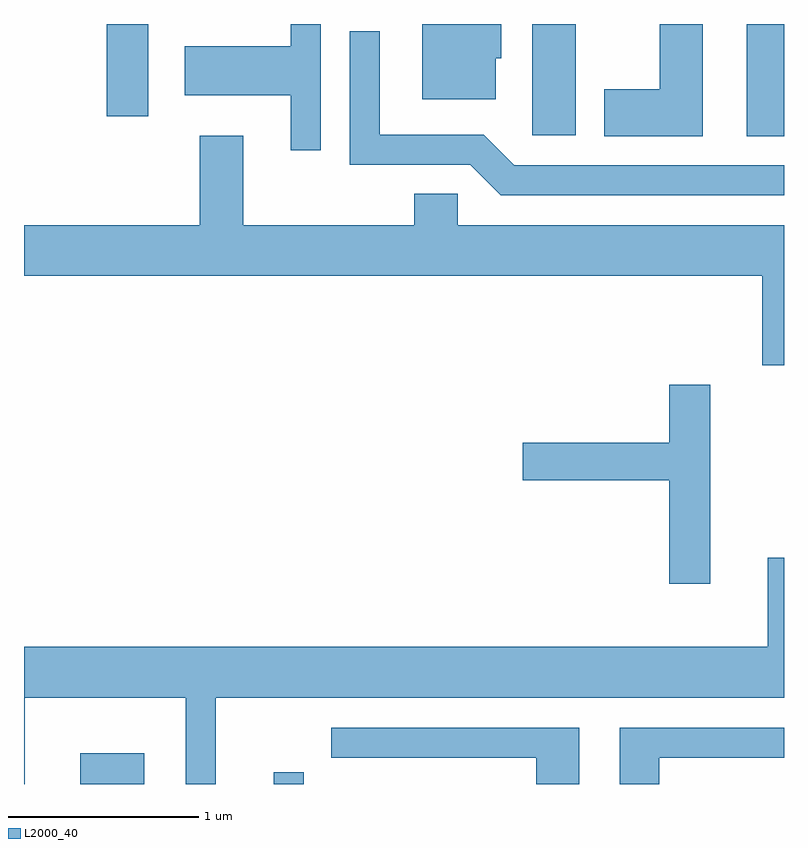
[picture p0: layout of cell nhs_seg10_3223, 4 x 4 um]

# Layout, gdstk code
import gdstk
lib = gdstk.Library(unit=1e-6, precision=1e-09)
def R(c, l, rs):  # rectangles x0, y0, x1, y1
    for r in rs: c.add(gdstk.rectangle(r[:2], r[2:], *l))
def P(c, l, *ps):  # polygons
    for p in ps: c.add(gdstk.Polygon(p, *l))
L2000_40 = (2000, 40)

nhs_seg10_3223 = lib.new_cell('nhs_seg10_3223')
R(nhs_seg10_3223, L2000_40, [(279.906,2164.522,280.244,2164.684), (280.926,2164.522,281.084,2164.583), (283.416,2167.931,283.611,2168.522), (282.286,2167.936,282.514,2168.522), (280.046,2168.036,280.264,2168.522)])
P(nhs_seg10_3223, L2000_40, [(283.184,2168.522),(282.956,2168.522),(282.956,2168.179),(282.666,2168.179),(282.666,2167.931),(283.184,2167.931)],
  [(281.174,2168.522),(281.016,2168.522),(281.016,2168.404),(280.456,2168.404),(280.456,2168.146),(281.016,2168.146),(281.016,2167.858),(281.174,2167.858)],
  [(282.094,2168.341),(282.124,2168.341),(282.124,2168.522),(281.706,2168.522),(281.706,2168.126),(282.094,2168.126)],
  [(283.611,2167.779),(282.192,2167.779),(282.032,2167.939),(281.484,2167.939),(281.484,2168.483),(281.326,2168.483),(281.326,2167.781),(281.959,2167.781),(282.119,2167.621),(283.611,2167.621)],
  [(283.611,2167.464),(281.894,2167.464),(281.894,2167.629),(281.666,2167.629),(281.666,2167.464),(280.764,2167.464),(280.764,2167.934),(280.536,2167.934),(280.536,2167.464),(279.611,2167.464),(279.611,2167.196),(283.496,2167.196),(283.496,2166.726),(283.611,2166.726)],
  [(283.224,2166.624),(283.006,2166.624),(283.006,2166.319),(282.236,2166.319),(282.236,2166.121),(283.006,2166.121),(283.006,2165.576),(283.224,2165.576)],
  [(279.614,2164.976),(280.461,2164.976),(280.461,2164.522),(280.619,2164.522),(280.619,2164.976),(283.611,2164.976),(283.611,2165.713),(283.526,2165.713),(283.526,2165.244),(279.611,2165.244),(279.611,2164.522),(279.614,2164.522)],
  [(282.534,2164.819),(281.228,2164.819),(281.228,2164.661),(282.306,2164.661),(282.306,2164.522),(282.534,2164.522)],
  [(282.954,2164.661),(283.611,2164.661),(283.611,2164.819),(282.746,2164.819),(282.746,2164.522),(282.954,2164.522)])

lib.write_gds('nhs_seg10_3223.gds')
